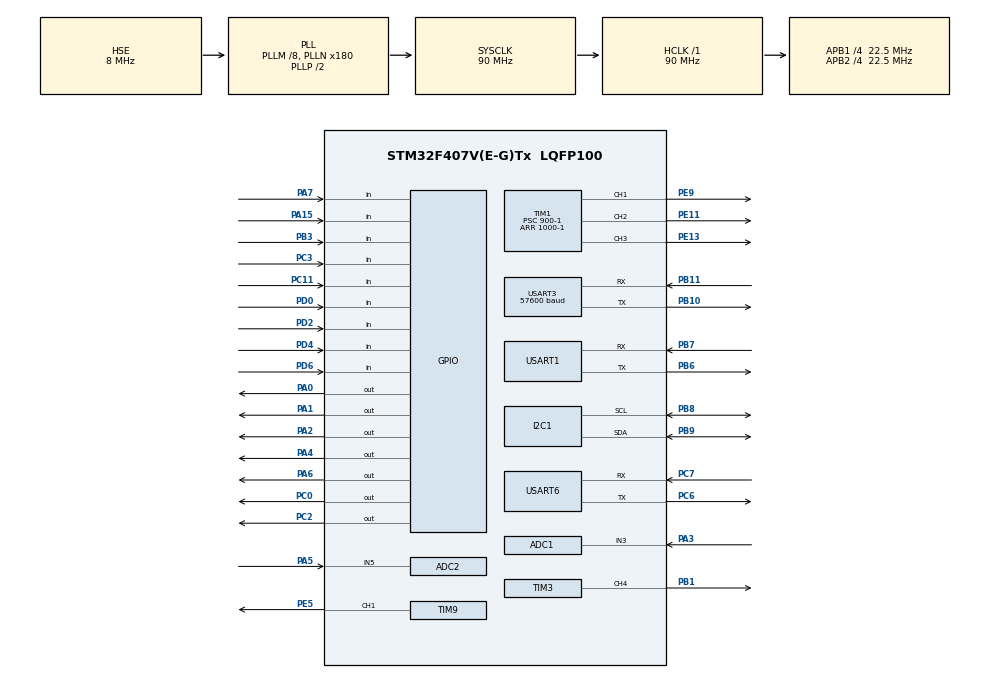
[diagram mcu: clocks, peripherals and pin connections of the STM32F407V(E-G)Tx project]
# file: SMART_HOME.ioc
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ADC1.Channel-0\#ChannelRegularConversion=ADC_CHANNEL_3
ADC1.NbrOfConversionFlag=1
ADC1.Rank-0\#ChannelRegularConversion=1
ADC1.Resolution=ADC_RESOLUTION_8B
ADC1.SamplingTime-0\#ChannelRegularConversion=ADC_SAMPLETIME_3CYCLES
ADC1.master=1
ADC2.Channel-0\#ChannelRegularConversion=ADC_CHANNEL_5
ADC2.NbrOfConversionFlag=1
ADC2.Rank-0\#ChannelRegularConversion=1
ADC2.Resolution=ADC_RESOLUTION_8B
ADC2.SamplingTime-0\#ChannelRegularConversion=ADC_SAMPLETIME_3CYCLES
Mcu.Family=STM32F4
Mcu.Name=STM32F407V(E-G)Tx
Mcu.Package=LQFP100
NVIC.ADC_IRQn=true\:0\:0\:false\:false\:true\:true\:true
NVIC.PriorityGroup=NVIC_PRIORITYGROUP_4
NVIC.USART1_IRQn=true\:0\:0\:false\:false\:true\:true\:true
NVIC.USART3_IRQn=true\:0\:0\:false\:false\:true\:true\:true
NVIC.USART6_IRQn=true\:0\:0\:false\:false\:true\:true\:true
PA0-WKUP.Signal=GPIO_Output
PA1.Signal=GPIO_Output
PA15.Signal=GPIO_Input
PA2.Signal=GPIO_Output
PA3.Signal=ADCx_IN3
PA4.Signal=GPIO_Output
PA5.Signal=ADCx_IN5
PA6.Signal=GPIO_Output
PA7.Signal=GPIO_Input
PB1.Signal=S_TIM3_CH4
PB10.Mode=Asynchronous
PB10.Signal=USART3_TX
PB11.Mode=Asynchronous
PB11.Signal=USART3_RX
PB3.Signal=GPIO_Input
PB6.Mode=Asynchronous
PB6.Signal=USART1_TX
PB7.Mode=Asynchronous
PB7.Signal=USART1_RX
PB8.Mode=I2C
PB8.Signal=I2C1_SCL
PB9.Mode=I2C
PB9.Signal=I2C1_SDA
PC0.Signal=GPIO_Output
PC11.Signal=GPIO_Input
PC2.Signal=GPIO_Output
PC3.Signal=GPIO_Input
PC6.Mode=Asynchronous
PC6.Signal=USART6_TX
PC7.Mode=Asynchronous
PC7.Signal=USART6_RX
PD0.Signal=GPIO_Input
PD2.Signal=GPIO_Input
PD4.Signal=GPIO_Input
PD6.Signal=GPIO_Input
PE11.Signal=S_TIM1_CH2
PE13.Signal=S_TIM1_CH3
PE5.Signal=S_TIM9_CH1
PE9.Signal=S_TIM1_CH1
PH0-OSC_IN.Mode=HSE-External-Oscillator
PH0-OSC_IN.Signal=RCC_OSC_IN
PH1-OSC_OUT.Mode=HSE-External-Oscillator
PH1-OSC_OUT.Signal=RCC_OSC_OUT
ProjectManager.HeapSize=0x200
ProjectManager.StackSize=0x400
ProjectManager.TargetToolchain=MDK-ARM V5
RCC.48MHZClocksFreq_Value=45000000
RCC.AHBFreq_Value=90000000
RCC.APB1CLKDivider=RCC_HCLK_DIV4
RCC.APB1Freq_Value=22500000
RCC.APB1TimFreq_Value=45000000
RCC.APB2CLKDivider=RCC_HCLK_DIV4
RCC.APB2Freq_Value=22500000
RCC.APB2TimFreq_Value=45000000
RCC.CortexFreq_Value=90000000
RCC.HCLKFreq_Value=90000000
RCC.HSE_VALUE=8000000
RCC.HSI_VALUE=16000000
RCC.LSE_VALUE=32768
RCC.PLLM=8
RCC.PLLN=180
RCC.PLLSourceVirtual=RCC_PLLSOURCE_HSE
RCC.SYSCLKFreq_VALUE=90000000
RCC.SYSCLKSource=RCC_SYSCLKSOURCE_PLLCLK
RCC.VCOOutputFreq_Value=180000000
SH.ADCx_IN3.0=ADC1_IN3,IN3
SH.ADCx_IN5.0=ADC2_IN5,IN5
SH.S_TIM1_CH1.0=TIM1_CH1,PWM Generation1 CH1
SH.S_TIM1_CH2.0=TIM1_CH2,PWM Generation2 CH2
SH.S_TIM1_CH3.0=TIM1_CH3,PWM Generation3 CH3
SH.S_TIM3_CH4.0=TIM3_CH4,PWM Generation4 CH4
SH.S_TIM9_CH1.0=TIM9_CH1,PWM Generation1 CH1
TIM1.Channel-PWM\ Generation1\ CH1=TIM_CHANNEL_1
TIM1.Channel-PWM\ Generation2\ CH2=TIM_CHANNEL_2
TIM1.Channel-PWM\ Generation3\ CH3=TIM_CHANNEL_3
TIM1.Period=1000-1
TIM1.Prescaler=900-1
TIM3.Channel-PWM\ Generation4\ CH4=TIM_CHANNEL_4
TIM3.Period=1000-1
TIM3.Prescaler=900-1
TIM9.Channel-PWM\ Generation1\ CH1=TIM_CHANNEL_1
TIM9.Period=100-1
TIM9.Prescaler=450-1
USART1.VirtualMode=VM_ASYNC
USART3.BaudRate=57600
USART3.VirtualMode=VM_ASYNC
USART6.VirtualMode=VM_ASYNC
VP_TIM1_VS_ClockSourceINT.Mode=Internal
VP_TIM3_VS_ClockSourceINT.Mode=Internal
VP_TIM9_VS_ClockSourceINT.Mode=Internal
board=custom

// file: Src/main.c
/* USER CODE BEGIN Header */
/**
  ******************************************************************************
  * @file           : main.c
  * @brief          : Main program body
  ******************************************************************************
  * @attention
  *
  * <h2><center>&copy; Copyright (c) 2021 STMicroelectronics.
  * All rights reserved.</center></h2>
  *
  * This software component is licensed by ST under BSD 3-Clause license,
  * the "License"; You may not use this file except in compliance with the
  * License. You may obtain a copy of the License at:
  *                        opensource.org/licenses/BSD-3-Clause
  *
  ******************************************************************************
  */
/* USER CODE END Header */

#include "main.h"
#include "lcd_16x2.h"	//done
#include "lcd_20x4.h"	//done
#include "servo.h"		//done
#include "music.h"		//done
/* USER CODE BEGIN Includes */
#include "stdio.h"
#include "string.h"
/* USER CODE END Includes */

ADC_HandleTypeDef hadc1;
ADC_HandleTypeDef hadc2;

I2C_HandleTypeDef hi2c1;

TIM_HandleTypeDef htim1;
TIM_HandleTypeDef htim3;
TIM_HandleTypeDef htim9;

UART_HandleTypeDef huart1;
UART_HandleTypeDef huart3;
UART_HandleTypeDef huart6;

void SystemClock_Config(void);
static void MX_GPIO_Init(void);
static void MX_ADC1_Init(void);
static void MX_ADC2_Init(void);
static void MX_I2C1_Init(void);
static void MX_TIM1_Init(void);
static void MX_TIM3_Init(void);
static void MX_TIM9_Init(void);
static void MX_USART1_UART_Init(void);
static void MX_USART3_UART_Init(void);
static void MX_USART6_UART_Init(void);

/* USER CODE BEGIN 0 */
/* Code for comunication with esp8266 using UART 1 and UART 6 */

/*	define */
#define txBuf_size 30
#define rxBuf_size 10

char txBuf[txBuf_size];
char rxBuf[rxBuf_size];

char rxBuf_receive[2];
uint16_t rx_Index = 0;
char temp_receive[rxBuf_size]; //data temp read from esp

/* Function to work with FAN, LED*/
#define ON 		1
#define OFF 	0

void control_Fan(int dir, int state){
		if (dir == 1){
			//control FAN 1 at PC2
			HAL_GPIO_WritePin(GPIOC, GPIO_PIN_2, state);
		}
		if (dir == 2){
			//control FAN 2 at PC0
			HAL_GPIO_WritePin(GPIOC, GPIO_PIN_0, state);
		}
}

void control_LED(int dir, int state){
		if (dir == 1){
			//control LED 1 at PA6
			HAL_GPIO_WritePin(GPIOA, GPIO_PIN_6, state);
		}
		if (dir == 2){
			//control LED 2 at PA4
			HAL_GPIO_WritePin(GPIOA, GPIO_PIN_4, state);
		}
		if (dir == 3){
			//control LED 3 at PA2
			HAL_GPIO_WritePin(GPIOA, GPIO_PIN_2, state);
		}
		if (dir == 4){
			//control LED 4 at PA0
			HAL_GPIO_WritePin(GPIOA, GPIO_PIN_0, state);
		}
}

void blink_led(){
	HAL_GPIO_TogglePin(GPIOA, GPIO_PIN_6);
}

/* Function to comunication */

static void serial_write(void* data, size_t len){
	HAL_UART_Transmit(&huart1, (uint8_t*)data, (uint16_t)len, 100);
}

void serial_send_cmd(char data[]){
		char line[txBuf_size];
		snprintf(line, sizeof(line), "%s\r\n", data);
		serial_write(line, strlen(line));
}

char* serial_read(){
	strcpy(temp_receive, rxBuf);
	return temp_receive;
}

/* function to check connect wifi */
int check_wifi(){
	char temp[2];
	if (strncmp(serial_read(),"wifi",4)==0){
		temp[0] = temp_receive[4];
		if (temp[0] == '0'){
			return 0; //disconnected
		}
		if (temp[0] == '1'){
			return 1; //connected
		}
		if (temp[0] == '2'){
			return 2; //smartconfig
		}
	}
}

/* Code for comunication with R305 using UART 3*/
/* ...........................Update ........................*/

/* Receive using ISR */
void HAL_UART_RxCpltCallback(UART_HandleTypeDef *UartHandle)
{
  /* Prevent unused argument(s) compilation warning */
	if(UartHandle->Instance==USART6){
		if (rx_Index == 0){
			for(int i = 0; i < rxBuf_size; i++){
				rxBuf[i] = 0;
			}
		}
		if (rxBuf_receive[0] != 10){
			rxBuf[rx_Index]=rxBuf_receive[0];
			rx_Index++;
		}
		else{
				rx_Index = 0;
		}
	}
  HAL_UART_Receive_IT(&huart6 , (uint8_t*)rxBuf_receive, 1);
}

/* USER CODE END 0 */

uint8_t i, a;
int value = 300;

int main(void)
{

  /* MCU Configuration--------------------------------------------------------*/

  /* Reset of all peripherals, Initializes the Flash interface and the Systick. */
  HAL_Init();

  /* Configure the system clock */
  SystemClock_Config();

  /* Initialize all configured peripherals */
  MX_GPIO_Init();
  MX_ADC1_Init();
  MX_ADC2_Init();
  MX_I2C1_Init();
  MX_TIM1_Init();
  MX_TIM3_Init();
  MX_TIM9_Init();
  MX_USART1_UART_Init();
  MX_USART3_UART_Init();
  MX_USART6_UART_Init();
  /* USER CODE BEGIN 2 */
	servo_Init();
	music_Init();
	/* Begin receive data from uart 3 and uart 6*/
	HAL_UART_Receive_IT(&huart6 , (uint8_t*)rxBuf_receive, 1);
//	LCD_16x2_i2cDeviceCheck();
//	LCD_16x2_Init();
//	LCD_16x2_BackLight(LCD_BL_ON);
//	LCD_16x2_SetCursor(1,1);
//	LCD_16x2_Send_String("hello",STR_NOSLIDE);

//	LCD_20x4_i2cDeviceCheck();
//	LCD_20x4_Init();
//	LCD_20x4_BackLight(LCD_BL_ON);
//	LCD_20x4_SetCursor(1,1);
//	LCD_20x4_Send_String("hello",STR_NOSLIDE);
  /* USER CODE END 2 */

  /* Infinite loop */
  /* USER CODE BEGIN WHILE */
	char temp[2];

  while (1)
  {
		//check connect to wifi
		if (check_wifi() == 0){
			//connect with wifi fail
			//blink led red to reconnect
			control_LED(1, OFF);
		}
		else if (check_wifi() == 2){
			//smart config begin
			blink_led();
			HAL_Delay(100);
		}
		else if (check_wifi() == 1){
			control_LED(1, ON);
		}

//		while(value < 900){
//				music_play(value)
//				HAL_Delay(500);
//				value += 20;
//		}
//		value = 300;
//		music_stop();
//		HAL_Delay(5000);

		/* play music */
//		music_play(330);
//		HAL_Delay(500);
//		music_play(440);
//		HAL_Delay(500);
//		music_play(550);
//		HAL_Delay(500);

			/*control servo*/
//			servo_position(1, 180);
//			servo_position(2, 180);
//			servo_position(3, 180);
//			HAL_Delay(1000);
//			servo_position(1,0);
//			servo_position(2, 0);
//			servo_position(3, 0);
//			HAL_Delay(1000);

			/*Turn on LED in 1s and turn off*/
//			control_LED(1, ON);
//			control_LED(2, ON);
//			control_LED(3, ON);
//			control_LED(4, ON);
//			HAL_Delay(1000);
//			control_LED(1, OFF);
//			control_LED(2, OFF);
//			control_LED(3, OFF);
//			control_LED(4, OFF);
//			HAL_Delay(1000);
//			HAL_StatusTypeDef result;
//			for (i=1;i<128;i++){
//				HAL_Delay(100);
//				result = HAL_I2C_IsDeviceReady(&hi2c1, (uint16_t)(i<<1),2,2);
//				if (result == HAL_OK)
//				{
//					// Received an ACK at that address
//					a = i;
//				}
//		}
    /* USER CODE END WHILE */
//		LCD_16x2_SetCursor(1,2);
//		LCD_16x2_Send_String("HELLO",STR_NOSLIDE);
//		LCD_16x2_SetCursor(2,2);
//		LCD_16x2_Send_String("LCD 16x2",STR_NOSLIDE);
//		HAL_Delay(1000);
//		LCD_16x2_Clear();
//			LCD_20x4_SetCursor(1,2);
//			LCD_20x4_Send_String("HI",STR_NOSLIDE);
//			LCD_20x4_SetCursor(2,2);
//			LCD_20x4_Send_String("LCD 20x4",STR_NOSLIDE);
//			HAL_Delay(1000);
//			LCD_20x4_Clear();

//		serial_send_cmd("LED 1");
//		serial_send_cmd("DHT11 12 5");
//		HAL_Delay(1000);
//		serial_send_cmd("LED 0");
//		serial_send_cmd("DHT11 20 10");
//		HAL_Delay(1000);

  }
}

void SystemClock_Config(void)
{
  RCC_OscInitTypeDef RCC_OscInitStruct = {0};
  RCC_ClkInitTypeDef RCC_ClkInitStruct = {0};

  /** Configure the main internal regulator output voltage
  */
  __HAL_RCC_PWR_CLK_ENABLE();
  __HAL_PWR_VOLTAGESCALING_CONFIG(PWR_REGULATOR_VOLTAGE_SCALE1);
  /** Initializes the CPU, AHB and APB busses clocks
  */
  RCC_OscInitStruct.OscillatorType = RCC_OSCILLATORTYPE_HSE;
  RCC_OscInitStruct.HSEState = RCC_HSE_ON;
  RCC_OscInitStruct.PLL.PLLState = RCC_PLL_ON;
  RCC_OscInitStruct.PLL.PLLSource = RCC_PLLSOURCE_HSE;
  RCC_OscInitStruct.PLL.PLLM = 8;
  RCC_OscInitStruct.PLL.PLLN = 180;
  RCC_OscInitStruct.PLL.PLLP = RCC_PLLP_DIV2;
  RCC_OscInitStruct.PLL.PLLQ = 4;
  if (HAL_RCC_OscConfig(&RCC_OscInitStruct) != HAL_OK)
  {
    Error_Handler();
  }
  /** Initializes the CPU, AHB and APB busses clocks
  */
  RCC_ClkInitStruct.ClockType = RCC_CLOCKTYPE_HCLK|RCC_CLOCKTYPE_SYSCLK
                              |RCC_CLOCKTYPE_PCLK1|RCC_CLOCKTYPE_PCLK2;
  RCC_ClkInitStruct.SYSCLKSource = RCC_SYSCLKSOURCE_PLLCLK;
  RCC_ClkInitStruct.AHBCLKDivider = RCC_SYSCLK_DIV1;
  RCC_ClkInitStruct.APB1CLKDivider = RCC_HCLK_DIV4;
  RCC_ClkInitStruct.APB2CLKDivider = RCC_HCLK_DIV4;

  if (HAL_RCC_ClockConfig(&RCC_ClkInitStruct, FLASH_LATENCY_2) != HAL_OK)
  {
    Error_Handler();
  }
}

static void MX_ADC1_Init(void)
{

  ADC_ChannelConfTypeDef sConfig = {0};

  /** Configure the global features of the ADC (Clock, Resolution, Data Alignment and number of conversion)
  */
  hadc1.Instance = ADC1;
  hadc1.Init.ClockPrescaler = ADC_CLOCK_SYNC_PCLK_DIV2;
  hadc1.Init.Resolution = ADC_RESOLUTION_8B;
  hadc1.Init.ScanConvMode = DISABLE;
  hadc1.Init.ContinuousConvMode = DISABLE;
  hadc1.Init.DiscontinuousConvMode = DISABLE;
  hadc1.Init.ExternalTrigConvEdge = ADC_EXTERNALTRIGCONVEDGE_NONE;
  hadc1.Init.ExternalTrigConv = ADC_SOFTWARE_START;
  hadc1.Init.DataAlign = ADC_DATAALIGN_RIGHT;
  hadc1.Init.NbrOfConversion = 1;
  hadc1.Init.DMAContinuousRequests = DISABLE;
  hadc1.Init.EOCSelection = ADC_EOC_SINGLE_CONV;
  if (HAL_ADC_Init(&hadc1) != HAL_OK)
  {
    Error_Handler();
  }
  /** Configure for the selected ADC regular channel its corresponding rank in the sequencer and its sample time.
  */
  sConfig.Channel = ADC_CHANNEL_3;
  sConfig.Rank = 1;
  sConfig.SamplingTime = ADC_SAMPLETIME_3CYCLES;
  if (HAL_ADC_ConfigChannel(&hadc1, &sConfig) != HAL_OK)
  {
    Error_Handler();
  }

}

static void MX_ADC2_Init(void)
{

  ADC_ChannelConfTypeDef sConfig = {0};

  /** Configure the global features of the ADC (Clock, Resolution, Data Alignment and number of conversion)
  */
  hadc2.Instance = ADC2;
  hadc2.Init.ClockPrescaler = ADC_CLOCK_SYNC_PCLK_DIV2;
  hadc2.Init.Resolution = ADC_RESOLUTION_8B;
  hadc2.Init.ScanConvMode = DISABLE;
  hadc2.Init.ContinuousConvMode = DISABLE;
  hadc2.Init.DiscontinuousConvMode = DISABLE;
  hadc2.Init.ExternalTrigConvEdge = ADC_EXTERNALTRIGCONVEDGE_NONE;
  hadc2.Init.ExternalTrigConv = ADC_SOFTWARE_START;
  hadc2.Init.DataAlign = ADC_DATAALIGN_RIGHT;
  hadc2.Init.NbrOfConversion = 1;
  hadc2.Init.DMAContinuousRequests = DISABLE;
  hadc2.Init.EOCSelection = ADC_EOC_SINGLE_CONV;
  if (HAL_ADC_Init(&hadc2) != HAL_OK)
  {
    Error_Handler();
  }
  /** Configure for the selected ADC regular channel its corresponding rank in the sequencer and its sample time.
  */
  sConfig.Channel = ADC_CHANNEL_5;
  sConfig.Rank = 1;
  sConfig.SamplingTime = ADC_SAMPLETIME_3CYCLES;
  if (HAL_ADC_ConfigChannel(&hadc2, &sConfig) != HAL_OK)
  {
    Error_Handler();
  }

}

static void MX_I2C1_Init(void)
{

  hi2c1.Instance = I2C1;
  hi2c1.Init.ClockSpeed = 100000;
  hi2c1.Init.DutyCycle = I2C_DUTYCYCLE_2;
  hi2c1.Init.OwnAddress1 = 0;
  hi2c1.Init.AddressingMode = I2C_ADDRESSINGMODE_7BIT;
  hi2c1.Init.DualAddressMode = I2C_DUALADDRESS_DISABLE;
  hi2c1.Init.OwnAddress2 = 0;
  hi2c1.Init.GeneralCallMode = I2C_GENERALCALL_DISABLE;
  hi2c1.Init.NoStretchMode = I2C_NOSTRETCH_DISABLE;
  if (HAL_I2C_Init(&hi2c1) != HAL_OK)
  {
    Error_Handler();
  }

}

static void MX_TIM1_Init(void)
{

  TIM_ClockConfigTypeDef sClockSourceConfig = {0};
  TIM_MasterConfigTypeDef sMasterConfig = {0};
  TIM_OC_InitTypeDef sConfigOC = {0};
  TIM_BreakDeadTimeConfigTypeDef sBreakDeadTimeConfig = {0};

  htim1.Instance = TIM1;
  htim1.Init.Prescaler = 900-1;
  htim1.Init.CounterMode = TIM_COUNTERMODE_UP;
  htim1.Init.Period = 1000-1;
  htim1.Init.ClockDivision = TIM_CLOCKDIVISION_DIV1;
  htim1.Init.RepetitionCounter = 0;
  htim1.Init.AutoReloadPreload = TIM_AUTORELOAD_PRELOAD_DISABLE;
  if (HAL_TIM_Base_Init(&htim1) != HAL_OK)
  {
    Error_Handler();
  }
  sClockSourceConfig.ClockSource = TIM_CLOCKSOURCE_INTERNAL;
  if (HAL_TIM_ConfigClockSource(&htim1, &sClockSourceConfig) != HAL_OK)
  {
    Error_Handler();
  }
  if (HAL_TIM_PWM_Init(&htim1) != HAL_OK)
  {
    Error_Handler();
  }
  sMasterConfig.MasterOutputTrigger = TIM_TRGO_RESET;
  sMasterConfig.MasterSlaveMode = TIM_MASTERSLAVEMODE_DISABLE;
  if (HAL_TIMEx_MasterConfigSynchronization(&htim1, &sMasterConfig) != HAL_OK)
  {
    Error_Handler();
  }
  sConfigOC.OCMode = TIM_OCMODE_PWM1;
  sConfigOC.Pulse = 0;
  sConfigOC.OCPolarity = TIM_OCPOLARITY_HIGH;
  sConfigOC.OCNPolarity = TIM_OCNPOLARITY_HIGH;
  sConfigOC.OCFastMode = TIM_OCFAST_DISABLE;
  sConfigOC.OCIdleState = TIM_OCIDLESTATE_RESET;
  sConfigOC.OCNIdleState = TIM_OCNIDLESTATE_RESET;
  if (HAL_TIM_PWM_ConfigChannel(&htim1, &sConfigOC, TIM_CHANNEL_1) != HAL_OK)
  {
    Error_Handler();
  }
  if (HAL_TIM_PWM_ConfigChannel(&htim1, &sConfigOC, TIM_CHANNEL_2) != HAL_OK)
  {
    Error_Handler();
  }
  if (HAL_TIM_PWM_ConfigChannel(&htim1, &sConfigOC, TIM_CHANNEL_3) != HAL_OK)
  {
    Error_Handler();
  }
  sBreakDeadTimeConfig.OffStateRunMode = TIM_OSSR_DISABLE;
  sBreakDeadTimeConfig.OffStateIDLEMode = TIM_OSSI_DISABLE;
  sBreakDeadTimeConfig.LockLevel = TIM_LOCKLEVEL_OFF;
  sBreakDeadTimeConfig.DeadTime = 0;
  sBreakDeadTimeConfig.BreakState = TIM_BREAK_DISABLE;
  sBreakDeadTimeConfig.BreakPolarity = TIM_BREAKPOLARITY_HIGH;
  sBreakDeadTimeConfig.AutomaticOutput = TIM_AUTOMATICOUTPUT_DISABLE;
  if (HAL_TIMEx_ConfigBreakDeadTime(&htim1, &sBreakDeadTimeConfig) != HAL_OK)
  {
    Error_Handler();
  }
  HAL_TIM_MspPostInit(&htim1);

}

static void MX_TIM3_Init(void)
{

  TIM_ClockConfigTypeDef sClockSourceConfig = {0};
  TIM_MasterConfigTypeDef sMasterConfig = {0};
  TIM_OC_InitTypeDef sConfigOC = {0};

  htim3.Instance = TIM3;
  htim3.Init.Prescaler = 900-1;
  htim3.Init.CounterMode = TIM_COUNTERMODE_UP;
  htim3.Init.Period = 1000-1;
  htim3.Init.ClockDivision = TIM_CLOCKDIVISION_DIV1;
  htim3.Init.AutoReloadPreload = TIM_AUTORELOAD_PRELOAD_DISABLE;
  if (HAL_TIM_Base_Init(&htim3) != HAL_OK)
  {
    Error_Handler();
  }
  sClockSourceConfig.ClockSource = TIM_CLOCKSOURCE_INTERNAL;
  if (HAL_TIM_ConfigClockSource(&htim3, &sClockSourceConfig) != HAL_OK)
  {
    Error_Handler();
  }
  if (HAL_TIM_PWM_Init(&htim3) != HAL_OK)
  {
    Error_Handler();
  }
  sMasterConfig.MasterOutputTrigger = TIM_TRGO_RESET;
  sMasterConfig.MasterSlaveMode = TIM_MASTERSLAVEMODE_DISABLE;
  if (HAL_TIMEx_MasterConfigSynchronization(&htim3, &sMasterConfig) != HAL_OK)
  {
    Error_Handler();
  }
  sConfigOC.OCMode = TIM_OCMODE_PWM1;
  sConfigOC.Pulse = 0;
  sConfigOC.OCPolarity = TIM_OCPOLARITY_HIGH;
  sConfigOC.OCFastMode = TIM_OCFAST_DISABLE;
  if (HAL_TIM_PWM_ConfigChannel(&htim3, &sConfigOC, TIM_CHANNEL_4) != HAL_OK)
  {
    Error_Handler();
  }
  HAL_TIM_MspPostInit(&htim3);

}

static void MX_TIM9_Init(void)
{

  TIM_ClockConfigTypeDef sClockSourceConfig = {0};
  TIM_OC_InitTypeDef sConfigOC = {0};

  htim9.Instance = TIM9;
  htim9.Init.Prescaler = 450-1;
  htim9.Init.CounterMode = TIM_COUNTERMODE_UP;
  htim9.Init.Period = 100-1;
  htim9.Init.ClockDivision = TIM_CLOCKDIVISION_DIV1;
  htim9.Init.AutoReloadPreload = TIM_AUTORELOAD_PRELOAD_DISABLE;
  if (HAL_TIM_Base_Init(&htim9) != HAL_OK)
  {
    Error_Handler();
  }
  sClockSourceConfig.ClockSource = TIM_CLOCKSOURCE_INTERNAL;
  if (HAL_TIM_ConfigClockSource(&htim9, &sClockSourceConfig) != HAL_OK)
  {
    Error_Handler();
  }
  if (HAL_TIM_PWM_Init(&htim9) != HAL_OK)
  {
    Error_Handler();
  }
  sConfigOC.OCMode = TIM_OCMODE_PWM1;
  sConfigOC.Pulse = 0;
  sConfigOC.OCPolarity = TIM_OCPOLARITY_HIGH;
  sConfigOC.OCFastMode = TIM_OCFAST_DISABLE;
  if (HAL_TIM_PWM_ConfigChannel(&htim9, &sConfigOC, TIM_CHANNEL_1) != HAL_OK)
  {
    Error_Handler();
  }
  HAL_TIM_MspPostInit(&htim9);

}

static void MX_USART1_UART_Init(void)
{

  huart1.Instance = USART1;
  huart1.Init.BaudRate = 115200;
  huart1.Init.WordLength = UART_WORDLENGTH_8B;
  huart1.Init.StopBits = UART_STOPBITS_1;
  huart1.Init.Parity = UART_PARITY_NONE;
  huart1.Init.Mode = UART_MODE_TX_RX;
  huart1.Init.HwFlowCtl = UART_HWCONTROL_NONE;
  huart1.Init.OverSampling = UART_OVERSAMPLING_16;
  if (HAL_UART_Init(&huart1) != HAL_OK)
  {
    Error_Handler();
  }

}

static void MX_USART3_UART_Init(void)
{

  huart3.Instance = USART3;
  huart3.Init.BaudRate = 57600;
  huart3.Init.WordLength = UART_WORDLENGTH_8B;
  huart3.Init.StopBits = UART_STOPBITS_1;
  huart3.Init.Parity = UART_PARITY_NONE;
  huart3.Init.Mode = UART_MODE_TX_RX;
  huart3.Init.HwFlowCtl = UART_HWCONTROL_NONE;
  huart3.Init.OverSampling = UART_OVERSAMPLING_16;
  if (HAL_UART_Init(&huart3) != HAL_OK)
  {
    Error_Handler();
  }

}

static void MX_USART6_UART_Init(void)
{

  huart6.Instance = USART6;
  huart6.Init.BaudRate = 115200;
  huart6.Init.WordLength = UART_WORDLENGTH_8B;
  huart6.Init.StopBits = UART_STOPBITS_1;
  huart6.Init.Parity = UART_PARITY_NONE;
  huart6.Init.Mode = UART_MODE_TX_RX;
  huart6.Init.HwFlowCtl = UART_HWCONTROL_NONE;
  huart6.Init.OverSampling = UART_OVERSAMPLING_16;
  if (HAL_UART_Init(&huart6) != HAL_OK)
  {
    Error_Handler();
  }

}

static void MX_GPIO_Init(void)
{
  GPIO_InitTypeDef GPIO_InitStruct = {0};

  /* GPIO Ports Clock Enable */
  __HAL_RCC_GPIOE_CLK_ENABLE();
  __HAL_RCC_GPIOH_CLK_ENABLE();
  __HAL_RCC_GPIOC_CLK_ENABLE();
  __HAL_RCC_GPIOA_CLK_ENABLE();
  __HAL_RCC_GPIOB_CLK_ENABLE();
  __HAL_RCC_GPIOD_CLK_ENABLE();

  /*Configure GPIO pin Output Level */
  HAL_GPIO_WritePin(GPIOC, GPIO_PIN_0|GPIO_PIN_2, GPIO_PIN_RESET);

  /*Configure GPIO pin Output Level */
  HAL_GPIO_WritePin(GPIOA, GPIO_PIN_0|GPIO_PIN_1|GPIO_PIN_2|GPIO_PIN_4
                          |GPIO_PIN_6, GPIO_PIN_RESET);

  /*Configure GPIO pins : PC0 PC2 */
  GPIO_InitStruct.Pin = GPIO_PIN_0|GPIO_PIN_2;
  GPIO_InitStruct.Mode = GPIO_MODE_OUTPUT_PP;
  GPIO_InitStruct.Pull = GPIO_NOPULL;
  GPIO_InitStruct.Speed = GPIO_SPEED_FREQ_LOW;
  HAL_GPIO_Init(GPIOC, &GPIO_InitStruct);

  /*Configure GPIO pins : PC3 PC11 */
  GPIO_InitStruct.Pin = GPIO_PIN_3|GPIO_PIN_11;
  GPIO_InitStruct.Mode = GPIO_MODE_INPUT;
  GPIO_InitStruct.Pull = GPIO_NOPULL;
  HAL_GPIO_Init(GPIOC, &GPIO_InitStruct);

  /*Configure GPIO pins : PA0 PA1 PA2 PA4
                           PA6 */
  GPIO_InitStruct.Pin = GPIO_PIN_0|GPIO_PIN_1|GPIO_PIN_2|GPIO_PIN_4
                          |GPIO_PIN_6;
  GPIO_InitStruct.Mode = GPIO_MODE_OUTPUT_PP;
  GPIO_InitStruct.Pull = GPIO_NOPULL;
  GPIO_InitStruct.Speed = GPIO_SPEED_FREQ_LOW;
  HAL_GPIO_Init(GPIOA, &GPIO_InitStruct);

  /*Configure GPIO pins : PA7 PA15 */
  GPIO_InitStruct.Pin = GPIO_PIN_7|GPIO_PIN_15;
  GPIO_InitStruct.Mode = GPIO_MODE_INPUT;
  GPIO_InitStruct.Pull = GPIO_NOPULL;
  HAL_GPIO_Init(GPIOA, &GPIO_InitStruct);

  /*Configure GPIO pins : PD0 PD2 PD4 PD6 */
  GPIO_InitStruct.Pin = GPIO_PIN_0|GPIO_PIN_2|GPIO_PIN_4|GPIO_PIN_6;
  GPIO_InitStruct.Mode = GPIO_MODE_INPUT;
  GPIO_InitStruct.Pull = GPIO_NOPULL;
  HAL_GPIO_Init(GPIOD, &GPIO_InitStruct);

  /*Configure GPIO pin : PB3 */
  GPIO_InitStruct.Pin = GPIO_PIN_3;
  GPIO_InitStruct.Mode = GPIO_MODE_INPUT;
  GPIO_InitStruct.Pull = GPIO_NOPULL;
  HAL_GPIO_Init(GPIOB, &GPIO_InitStruct);

}

void Error_Handler(void)
{
}

/************************ (C) COPYRIGHT STMicroelectronics *****END OF FILE****/
